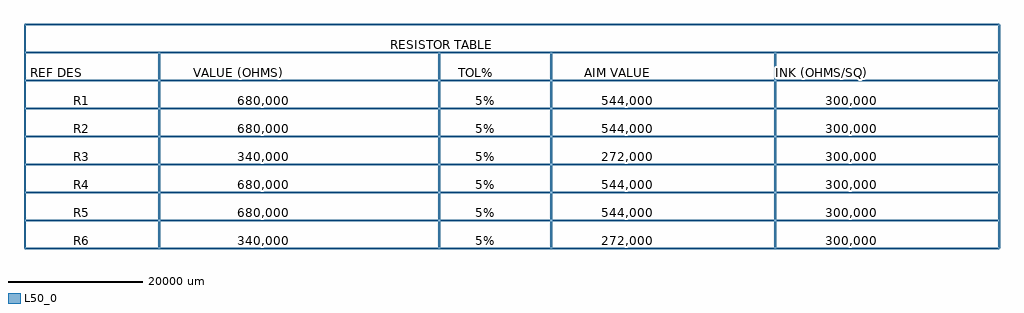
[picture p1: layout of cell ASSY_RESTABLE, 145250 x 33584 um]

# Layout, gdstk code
import gdstk
lib = gdstk.Library(unit=1e-6, precision=1e-09)
L50_0 = (50, 0)

assy_restable = lib.new_cell('ASSY_RESTABLE')
assy_restable.add(gdstk.FlexPath([(0,7167),(145000,7167)], 250, ends="flush", simple_path=True, layer=50, datatype=0))  # L50_0
assy_restable.add(gdstk.FlexPath([(0,3000),(145000,3000)], 250, ends="flush", simple_path=True, layer=50, datatype=0))  # L50_0
assy_restable.add(gdstk.FlexPath([(0,-1167),(145000,-1167)], 250, ends="flush", simple_path=True, layer=50, datatype=0))  # L50_0
assy_restable.add(gdstk.FlexPath([(0,-5333),(145000,-5333)], 250, ends="flush", simple_path=True, layer=50, datatype=0))  # L50_0
assy_restable.add(gdstk.FlexPath([(0,-9500),(145000,-9500)], 250, ends="flush", simple_path=True, layer=50, datatype=0))  # L50_0
assy_restable.add(gdstk.FlexPath([(0,-13667),(145000,-13667)], 250, ends="flush", simple_path=True, layer=50, datatype=0))  # L50_0
assy_restable.add(gdstk.FlexPath([(0,-17833),(145000,-17833)], 250, ends="flush", simple_path=True, layer=50, datatype=0))  # L50_0
assy_restable.add(gdstk.FlexPath([(0,-22000),(145000,-22000)], 250, ends="flush", simple_path=True, layer=50, datatype=0))  # L50_0
assy_restable.add(gdstk.FlexPath([(0,-26167),(145000,-26167)], 250, ends="flush", simple_path=True, layer=50, datatype=0))  # L50_0
assy_restable.add(gdstk.FlexPath([(0,7167),(0,-26167)], 250, ends="flush", simple_path=True, layer=50, datatype=0))  # L50_0
assy_restable.add(gdstk.FlexPath([(145000,7167),(145000,-26167)], 250, ends="flush", simple_path=True, layer=50, datatype=0))  # L50_0
assy_restable.add(gdstk.FlexPath([(20000,3000),(20000,-26167)], 250, ends="flush", simple_path=True, layer=50, datatype=0))  # L50_0
assy_restable.add(gdstk.FlexPath([(61667,3000),(61667,-26167)], 250, ends="flush", simple_path=True, layer=50, datatype=0))  # L50_0
assy_restable.add(gdstk.FlexPath([(78333,3000),(78333,-26167)], 250, ends="flush", simple_path=True, layer=50, datatype=0))  # L50_0
assy_restable.add(gdstk.FlexPath([(111667,3000),(111667,-26167)], 250, ends="flush", simple_path=True, layer=50, datatype=0))  # L50_0
assy_restable.add(gdstk.Label('REF DES', (4750,0), layer=50, texttype=0))
assy_restable.add(gdstk.Label('VALUE (OHMS)', (31833,0), layer=50, texttype=0))
assy_restable.add(gdstk.Label('TOL%', (67000,0), layer=50, texttype=0))
assy_restable.add(gdstk.Label('AIM VALUE', (88250,0), layer=50, texttype=0))
assy_restable.add(gdstk.Label('INK (OHMS/SQ)', (118583,0), layer=50, texttype=0))
assy_restable.add(gdstk.Label('R1', (8500,-4167), layer=50, texttype=0))
assy_restable.add(gdstk.Label('680,000', (35583,-4167), layer=50, texttype=0))
assy_restable.add(gdstk.Label('5%', (68500,-4167), layer=50, texttype=0))
assy_restable.add(gdstk.Label('544,000', (89750,-4167), layer=50, texttype=0))
assy_restable.add(gdstk.Label('300,000', (123083,-4167), layer=50, texttype=0))
assy_restable.add(gdstk.Label('R2', (8500,-8333), layer=50, texttype=0))
assy_restable.add(gdstk.Label('680,000', (35583,-8333), layer=50, texttype=0))
assy_restable.add(gdstk.Label('5%', (68500,-8333), layer=50, texttype=0))
assy_restable.add(gdstk.Label('544,000', (89750,-8333), layer=50, texttype=0))
assy_restable.add(gdstk.Label('300,000', (123083,-8333), layer=50, texttype=0))
assy_restable.add(gdstk.Label('R3', (8500,-12500), layer=50, texttype=0))
assy_restable.add(gdstk.Label('340,000', (35583,-12500), layer=50, texttype=0))
assy_restable.add(gdstk.Label('5%', (68500,-12500), layer=50, texttype=0))
assy_restable.add(gdstk.Label('272,000', (89750,-12500), layer=50, texttype=0))
assy_restable.add(gdstk.Label('300,000', (123083,-12500), layer=50, texttype=0))
assy_restable.add(gdstk.Label('R4', (8500,-16667), layer=50, texttype=0))
assy_restable.add(gdstk.Label('680,000', (35583,-16667), layer=50, texttype=0))
assy_restable.add(gdstk.Label('5%', (68500,-16667), layer=50, texttype=0))
assy_restable.add(gdstk.Label('544,000', (89750,-16667), layer=50, texttype=0))
assy_restable.add(gdstk.Label('300,000', (123083,-16667), layer=50, texttype=0))
assy_restable.add(gdstk.Label('R5', (8500,-20833), layer=50, texttype=0))
assy_restable.add(gdstk.Label('680,000', (35583,-20833), layer=50, texttype=0))
assy_restable.add(gdstk.Label('5%', (68500,-20833), layer=50, texttype=0))
assy_restable.add(gdstk.Label('544,000', (89750,-20833), layer=50, texttype=0))
assy_restable.add(gdstk.Label('300,000', (123083,-20833), layer=50, texttype=0))
assy_restable.add(gdstk.Label('R6', (8500,-25000), layer=50, texttype=0))
assy_restable.add(gdstk.Label('340,000', (35583,-25000), layer=50, texttype=0))
assy_restable.add(gdstk.Label('5%', (68500,-25000), layer=50, texttype=0))
assy_restable.add(gdstk.Label('272,000', (89750,-25000), layer=50, texttype=0))
assy_restable.add(gdstk.Label('300,000', (123083,-25000), layer=50, texttype=0))
assy_restable.add(gdstk.Label('RESISTOR TABLE', (62000,4167), layer=50, texttype=0))

lib.write_gds('ASSY_RESTABLE.gds')
